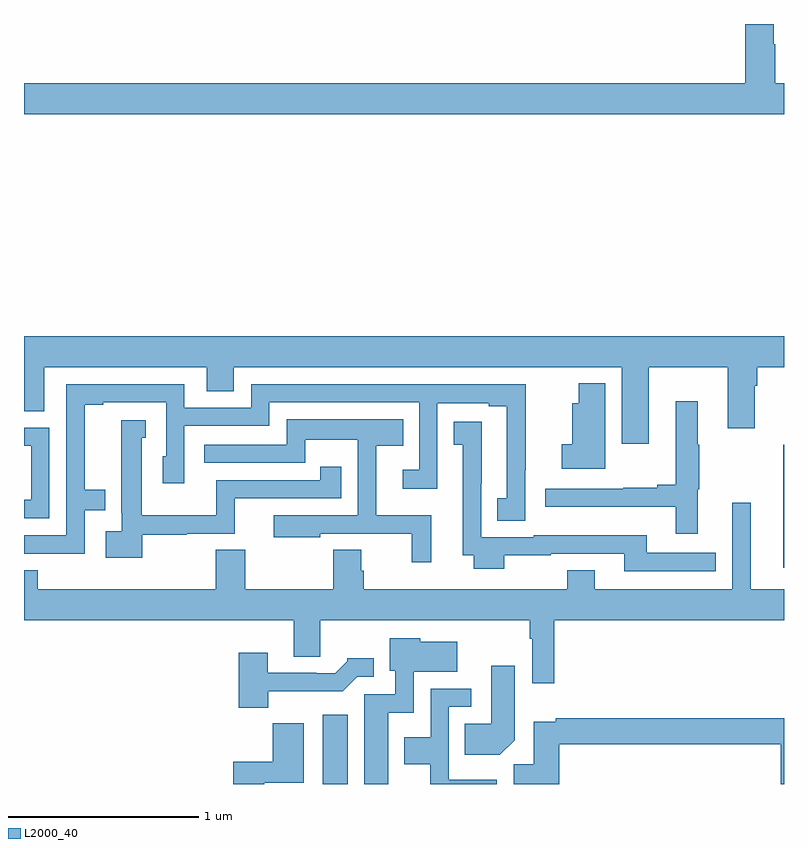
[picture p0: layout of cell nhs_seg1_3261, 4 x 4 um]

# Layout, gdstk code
import gdstk
lib = gdstk.Library(unit=1e-6, precision=1e-09)
def R(c, l, rs):  # rectangles x0, y0, x1, y1
    for r in rs: c.add(gdstk.rectangle(r[:2], r[2:], *l))
def P(c, l, *ps):  # polygons
    for p in ps: c.add(gdstk.Polygon(p, *l))
L2000_40 = (2000, 40)

nhs_seg1_3261 = lib.new_cell('nhs_seg1_3261')
R(nhs_seg1_3261, L2000_40, [(288.572,556.199,288.703,556.564)])
P(nhs_seg1_3261, L2000_40, [(291,559.888),(290.955,559.888),(290.955,560.093),(290.947,560.093),(290.947,560.199),(290.795,560.199),(290.795,559.888),(287,559.888),(287,559.724),(291,559.724)],
  [(290.287,558.392),(290.705,558.392),(290.705,558.072),(290.845,558.072),(290.845,558.296),(290.858,558.296),(290.858,558.392),(291,558.392),(291,558.556),(287,558.556),(287,558.16),(287.107,558.16),(287.107,558.392),(287.963,558.392),(287.963,558.265),(288.103,558.265),(288.103,558.392),(290.147,558.392),(290.147,557.991),(290.287,557.991)],
  [(290.059,558.307),(289.919,558.307),(289.919,558.202),(289.886,558.202),(289.886,557.988),(289.83,557.988),(289.83,557.858),(290.059,557.858)],
  [(287.319,557.64),(287.428,557.64),(287.428,557.749),(287.321,557.749),(287.321,558.195),(287.416,558.195),(287.416,558.207),(287.748,558.207),(287.748,557.925),(287.729,557.925),(287.729,557.781),(287.844,557.781),(287.844,558.084),(288.291,558.084),(288.291,558.207),(289.08,558.207),(289.08,557.854),(288.993,557.854),(288.993,557.753),(289.176,557.753),(289.176,558.203),(289.445,558.203),(289.445,558.186),(289.541,558.186),(289.541,557.703),(289.492,557.703),(289.492,557.584),(289.638,557.584),(289.638,557.851),(289.641,557.851),(289.641,558.304),(289.183,558.304),(289.183,558.303),(288.195,558.303),(288.195,558.18),(287.844,558.18),(287.844,558.303),(287.223,558.303),(287.223,557.508),(287,557.508),(287,557.412),(287.319,557.412)],
  [(290.545,557.751),(290.553,557.751),(290.553,557.984),(290.545,557.984),(290.545,558.214),(290.429,558.214),(290.429,557.774),(290.333,557.774),(290.333,557.757),(290.155,557.757),(290.155,557.754),(289.743,557.754),(289.743,557.657),(290.429,557.657),(290.429,557.517),(290.545,557.517)],
  [(289.144,557.614),(288.853,557.614),(288.853,557.978),(288.995,557.978),(288.995,558.118),(288.384,558.118),(288.384,557.985),(287.949,557.985),(287.949,557.889),(288.377,557.889),(288.377,557.89),(288.48,557.89),(288.48,558.011),(288.756,558.011),(288.756,557.613),(288.315,557.613),(288.315,557.498),(288.559,557.498),(288.559,557.517),(289.042,557.517),(289.042,557.367),(289.144,557.367)],
  [(287.623,557.512),(287.856,557.512),(287.856,557.517),(288.11,557.517),(288.11,557.703),(288.671,557.703),(288.671,557.869),(288.558,557.869),(288.558,557.799),(288.011,557.799),(288.011,557.614),(287.62,557.614),(287.62,558.021),(287.641,558.021),(287.641,558.114),(287.513,558.114),(287.513,557.626),(287.514,557.626),(287.514,557.53),(287.43,557.53),(287.43,557.39),(287.623,557.39)],
  [(290.642,557.415),(290.278,557.415),(290.278,557.509),(289.683,557.509),(289.683,557.499),(289.407,557.499),(289.407,557.782),(289.408,557.782),(289.408,558.106),(289.261,558.106),(289.261,557.985),(289.31,557.985),(289.31,557.403),(289.367,557.403),(289.367,557.333),(289.527,557.333),(289.527,557.402),(289.773,557.402),(289.773,557.412),(290.159,557.412),(290.159,557.319),(290.642,557.319)],
  [(287.133,558.075),(287,558.075),(287,557.979),(287.037,557.979),(287.037,557.694),(287,557.694),(287,557.598),(287.133,557.598)],
  [(291,557.984),(290.995,557.984),(290.995,557.754),(290.996,557.754),(290.996,557.336),(291,557.336)],
  [(289.79,557.06),(291,557.06),(291,557.224),(290.824,557.224),(290.824,557.68),(290.727,557.68),(290.727,557.224),(290.005,557.224),(290.005,557.323),(289.858,557.323),(289.858,557.224),(288.788,557.224),(288.788,557.322),(288.775,557.322),(288.775,557.432),(288.628,557.432),(288.628,557.224),(288.165,557.224),(288.165,557.432),(288.01,557.432),(288.01,557.224),(287.072,557.224),(287.072,557.323),(287,557.323),(287,557.06),(288.419,557.06),(288.419,556.87),(288.559,556.87),(288.559,557.06),(289.662,557.06),(289.662,556.964),(289.674,556.964),(289.674,556.728),(289.79,556.728)],
  [(288.916,556.574),(289.05,556.574),(289.05,556.79),(289.279,556.79),(289.279,556.948),(289.086,556.948),(289.086,556.966),(288.926,556.966),(288.926,556.794),(288.954,556.794),(288.954,556.671),(288.791,556.671),(288.791,556.199),(288.916,556.199)],
  [(288.286,556.688),(288.677,556.688),(288.753,556.764),(288.841,556.764),(288.841,556.861),(288.702,556.861),(288.702,556.846),(288.638,556.782),(288.539,556.782),(288.539,556.785),(288.283,556.785),(288.283,556.891),(288.131,556.891),(288.131,556.601),(288.286,556.601)],
  [(289.582,556.43),(289.582,556.822),(289.46,556.822),(289.46,556.516),(289.321,556.516),(289.321,556.352),(289.504,556.352)],
  [(289.489,556.222),(289.236,556.222),(289.236,556.605),(289.354,556.605),(289.354,556.701),(289.14,556.701),(289.14,556.444),(289.001,556.444),(289.001,556.304),(289.138,556.304),(289.138,556.199),(289.489,556.199)],
  [(289.817,556.408),(290.984,556.408),(290.984,556.199),(291,556.199),(291,556.544),(289.798,556.544),(289.798,556.526),(289.682,556.526),(289.682,556.304),(289.577,556.304),(289.577,556.199),(289.817,556.199)],
  [(288.264,556.205),(288.472,556.205),(288.472,556.519),(288.31,556.519),(288.31,556.315),(288.102,556.315),(288.102,556.199),(288.264,556.199)])

lib.write_gds('nhs_seg1_3261.gds')
